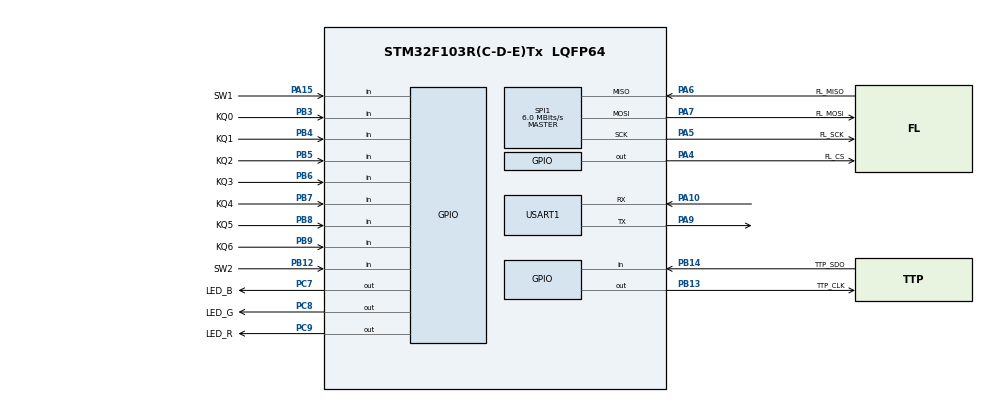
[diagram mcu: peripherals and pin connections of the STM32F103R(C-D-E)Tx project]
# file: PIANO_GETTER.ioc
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Mcu.Family=STM32F1
Mcu.Name=STM32F103R(C-D-E)Tx
Mcu.Package=LQFP64
NVIC.PriorityGroup=NVIC_PRIORITYGROUP_4
NVIC.TIM2_IRQn=true\:0\:0\:false\:false\:true\:true\:true\:true
PA10.Mode=Asynchronous
PA10.Signal=USART1_RX
PA13.Mode=Serial_Wire
PA13.Signal=SYS_JTMS-SWDIO
PA14.Mode=Serial_Wire
PA14.Signal=SYS_JTCK-SWCLK
PA15.GPIO_Label=SW1
PA15.Signal=GPIO_Input
PA4.GPIO_Label=FL_CS
PA4.Signal=GPIO_Output
PA5.GPIO_Label=FL_SCK
PA5.Mode=Full_Duplex_Master
PA5.Signal=SPI1_SCK
PA6.GPIO_Label=FL_MISO
PA6.Mode=Full_Duplex_Master
PA6.Signal=SPI1_MISO
PA7.GPIO_Label=FL_MOSI
PA7.Mode=Full_Duplex_Master
PA7.Signal=SPI1_MOSI
PA9.Mode=Asynchronous
PA9.Signal=USART1_TX
PB12.GPIO_Label=SW2
PB12.Signal=GPIO_Input
PB13.GPIO_Label=TTP_CLK
PB13.Signal=GPIO_Output
PB14.GPIO_Label=TTP_SDO
PB14.Signal=GPIO_Input
PB3.GPIO_Label=KQ0
PB3.GPIO_PuPd=GPIO_PULLUP
PB3.Signal=GPIO_Input
PB4.GPIO_Label=KQ1
PB4.GPIO_PuPd=GPIO_PULLUP
PB4.Signal=GPIO_Input
PB5.GPIO_Label=KQ2
PB5.GPIO_PuPd=GPIO_PULLUP
PB5.Signal=GPIO_Input
PB6.GPIO_Label=KQ3
PB6.GPIO_PuPd=GPIO_PULLUP
PB6.Signal=GPIO_Input
PB7.GPIO_Label=KQ4
PB7.GPIO_PuPd=GPIO_PULLUP
PB7.Signal=GPIO_Input
PB8.GPIO_Label=KQ5
PB8.GPIO_PuPd=GPIO_PULLUP
PB8.Signal=GPIO_Input
PB9.GPIO_Label=KQ6
PB9.GPIO_PuPd=GPIO_PULLUP
PB9.Signal=GPIO_Input
PC7.GPIO_Label=LED_B
PC7.Signal=GPIO_Output
PC8.GPIO_Label=LED_G
PC8.Signal=GPIO_Output
PC9.GPIO_Label=LED_R
PC9.Signal=GPIO_Output
ProjectManager.HeapSize=0x200
ProjectManager.StackSize=0x400
ProjectManager.TargetToolchain=STM32CubeIDE
RCC.AHBFreq_Value=24000000
RCC.APB1CLKDivider=RCC_HCLK_DIV2
RCC.APB1Freq_Value=12000000
RCC.APB1TimFreq_Value=24000000
RCC.APB2Freq_Value=24000000
RCC.APB2TimFreq_Value=24000000
RCC.HCLKFreq_Value=24000000
RCC.PLLMUL=RCC_PLL_MUL6
RCC.SYSCLKFreq_VALUE=24000000
RCC.SYSCLKSource=RCC_SYSCLKSOURCE_PLLCLK
RCC.USBFreq_Value=24000000
SPI1.BaudRatePrescaler=SPI_BAUDRATEPRESCALER_4
SPI1.CalculateBaudRate=6.0 MBits/s
SPI1.Direction=SPI_DIRECTION_2LINES
SPI1.Mode=SPI_MODE_MASTER
SPI1.VirtualType=VM_MASTER
TIM2.AutoReloadPreload=TIM_AUTORELOAD_PRELOAD_ENABLE
TIM2.Period=999
TIM2.Prescaler=239
TIM4.Prescaler=23
USART1.VirtualMode=VM_ASYNC
VP_TIM2_VS_ClockSourceINT.Mode=Internal
VP_TIM4_VS_ClockSourceINT.Mode=Internal
board=custom

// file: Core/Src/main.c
/* USER CODE BEGIN Header */
/**
  ******************************************************************************
  * @file           : main.c
  * @brief          : Main program body
  ******************************************************************************
  * @attention
  *
  * Copyright (c) 2025 STMicroelectronics.
  * All rights reserved.
  *
  * This software is licensed under terms that can be found in the LICENSE file
  * in the root directory of this software component.
  * If no LICENSE file comes with this software, it is provided AS-IS.
  *
  ******************************************************************************
  */
/* USER CODE END Header */
#include "main.h"

/* USER CODE BEGIN Includes */
#include <stdio.h>
#include <string.h>
#include <stdbool.h>
#include "gd25q16e.h"
#include "ttp229.h"
#include "uart.h"
#include "song.h"

/* USER CODE END Includes */

void SystemClock_Config(void);
static void MX_GPIO_Init(void);
static void MX_SPI1_Init(void);
static void MX_USART1_UART_Init(void);
static void MX_TIM4_Init(void);
static void MX_TIM2_Init(void);

/* USER CODE BEGIN 0 */
typedef enum {
    STATE_IDLE,
    STATE_WAIT_SW2_RELEASE,
    STATE_RECORD,
    STATE_UART_WAIT_SEND,
    STATE_UART_SENDING,
    STATE_WAIT_ERASE
} State_t;

struct GD25Q16E_Dev flash = {
	.spi = SPI1,
	.cs_port = FL_CS_GPIO_Port,
	.cs_pin = FL_CS_Pin
};

#define FLASH_END_ADDR				0x0FBFFF
#define UART_CHUNK_SIZE				128
#define LED_TOGGLE_TICKS			20
#define DEBOUNCE_TICKS				5

static State_t current_state = STATE_IDLE;
static uint32_t sample_count = 0;
static uint32_t sw1_hold_time = 0;
static uint32_t sw2_hold_time = 0;
static uint32_t sw1_debounce = 0;
static uint32_t sw2_debounce = 0;
static bool sw1_state = false;
static bool sw2_state = false;
static uint32_t uart_wait_delay = 0;
static uint32_t erase_wait_delay = 0;
volatile uint32_t timer_count = 0;
static uint32_t flash_addr = 0;
static uint32_t led_toggle_count = 0;

void UART_Transmit_Flash(uint32_t start_addr, uint32_t len) {
    uint8_t buffer[UART_CHUNK_SIZE];
    uint32_t remaining = len - (flash_addr - start_addr);
    uint32_t chunk = (remaining > UART_CHUNK_SIZE) ? UART_CHUNK_SIZE : remaining;

    if (chunk > 0) {
        GD25Q16E_Read(&flash, flash_addr, buffer, chunk);
        for (uint32_t i = 0; i < chunk; i++) {
            while (!LL_USART_IsActiveFlag_TXE(USART1));
            LL_USART_TransmitData8(USART1, buffer[i]);
        }
        flash_addr += chunk;
    }
}

void EraseAllFlash(void) {
    for (uint32_t addr = 0x000000; addr <= FLASH_END_ADDR; addr += 4096) {
        GD25Q16E_EraseSector(&flash, addr);
        // Chớp LED đỏ
        LL_GPIO_TogglePin(LED_R_GPIO_Port, LED_R_Pin);
        LL_mDelay(20);
    }
}

void Timer2_10ms_handle(void) {
    if (LL_TIM_IsActiveFlag_UPDATE(TIM2)) {
        LL_TIM_ClearFlag_UPDATE(TIM2);
        timer_count++;
        led_toggle_count++;

        // Debouncing SW1
        bool sw1_current = !LL_GPIO_IsInputPinSet(SW1_GPIO_Port, SW1_Pin);
        if (sw1_current == sw1_state) {
            sw1_debounce = 0;
        } else {
            sw1_debounce++;
            if (sw1_debounce >= DEBOUNCE_TICKS) {
                sw1_state = sw1_current;
                sw1_debounce = 0;
                if (!sw1_state) {
                    sw1_hold_time = 0;
                }
            }
        }
        if (sw1_state) {
            sw1_hold_time++;
        }

        // Debouncing SW2
        bool sw2_current = !LL_GPIO_IsInputPinSet(SW2_GPIO_Port, SW2_Pin);
        if (sw2_current == sw2_state) {
            sw2_debounce = 0;
        } else {
            sw2_debounce++;
            if (sw2_debounce >= DEBOUNCE_TICKS) {
                sw2_state = sw2_current;
                sw2_debounce = 0;
                if (!sw2_state) {
                    sw2_hold_time = 0;
                }
            }
        }
        if (sw2_state) {
            sw2_hold_time++;
        }

        // Nhấp nháy LED trong UART_SENDING và WAIT_ERASE
        if ((current_state == STATE_UART_SENDING || current_state == STATE_WAIT_ERASE) && led_toggle_count >= LED_TOGGLE_TICKS) {
            if (current_state == STATE_UART_SENDING) {
                LL_GPIO_TogglePin(LED_B_GPIO_Port, LED_B_Pin);
            } else {
                LL_GPIO_TogglePin(LED_R_GPIO_Port, LED_R_Pin);
                LL_GPIO_TogglePin(LED_G_GPIO_Port, LED_G_Pin);
                LL_GPIO_TogglePin(LED_B_GPIO_Port, LED_B_Pin);
            }
            led_toggle_count = 0;
        }

        // Xử lý trạng thái
        switch (current_state) {
            case STATE_IDLE:
                LL_GPIO_SetOutputPin(LED_R_GPIO_Port, LED_R_Pin);
                LL_GPIO_ResetOutputPin(LED_G_GPIO_Port, LED_G_Pin);
                LL_GPIO_ResetOutputPin(LED_B_GPIO_Port, LED_B_Pin);
                if (sw2_hold_time == 1) {
                    current_state = STATE_WAIT_SW2_RELEASE;
                    sw2_debounce = 0;
                    sw2_state = true;
                } else if (sw1_hold_time >= 500) { // 5 giây
                    current_state = STATE_WAIT_ERASE;
                	LL_GPIO_ResetOutputPin(LED_R_GPIO_Port, LED_R_Pin);
                    sw1_hold_time = 0;
                    erase_wait_delay = 0;
                }
                break;

            case STATE_WAIT_SW2_RELEASE:
                if (sw2_hold_time >= 300) {
                    current_state = STATE_UART_WAIT_SEND;
                    sw2_hold_time = 0;
                    uart_wait_delay = 0;
                } else if (sw2_hold_time == 0) {
                    current_state = STATE_RECORD;
                    sample_count = 0;
                }
                break;

            case STATE_RECORD:
                LL_GPIO_ResetOutputPin(LED_R_GPIO_Port, LED_R_Pin);
                LL_GPIO_SetOutputPin(LED_G_GPIO_Port, LED_G_Pin);
                LL_GPIO_ResetOutputPin(LED_B_GPIO_Port, LED_B_Pin);
                if (sw1_hold_time == 1 || sample_count >= SONG_DATA_SIZE) {
                    char name[16];
                    memset(song_name, 0xFF, SONG_NAME_SIZE);
                    snprintf(name, sizeof(name), "Bai so %d", song_index + 1);
                    memcpy(song_name, name, strlen(name) + 1);
                    song_write(&flash, song_index);
                    song_index = (song_index + 1) % SONG_COUNT;
                    song_save_index(&flash, song_index);
                    current_state = STATE_IDLE;
                } else {
                    if (sample_count < SONG_DATA_SIZE) {
                        song_data[sample_count] = TTP229_Read_8Keys();
                        sample_count++;
                    }
                }
                break;

            case STATE_UART_WAIT_SEND:
                LL_GPIO_ResetOutputPin(LED_R_GPIO_Port, LED_R_Pin);
                LL_GPIO_ResetOutputPin(LED_G_GPIO_Port, LED_G_Pin);
                LL_GPIO_SetOutputPin(LED_B_GPIO_Port, LED_B_Pin);
                uart_wait_delay++;
                if (uart_wait_delay >= 50 && sw2_hold_time == 1) {
                    current_state = STATE_UART_SENDING;
                    flash_addr = 0x000000;
                    led_toggle_count = 0;
                } else if (uart_wait_delay >= 50 && sw1_hold_time == 1) {
                	current_state = STATE_IDLE;
                }
                break;

            case STATE_UART_SENDING:
                UART_Transmit_Flash(0x000000, FLASH_END_ADDR + 1);
                if (flash_addr > FLASH_END_ADDR) {
                    current_state = STATE_IDLE;
                }
                break;

            case STATE_WAIT_ERASE:
                erase_wait_delay++;
                if (erase_wait_delay >= 50 && sw2_state && sw2_hold_time == 1) {
                	LL_GPIO_ResetOutputPin(LED_G_GPIO_Port, LED_G_Pin);
                	LL_GPIO_ResetOutputPin(LED_B_GPIO_Port, LED_B_Pin);
                    EraseAllFlash();
                    song_index = 0;
                    current_state = STATE_IDLE;
                } else if (erase_wait_delay >= 50 && sw1_state && sw1_hold_time == 1) {
                    current_state = STATE_IDLE;
                }
                break;
        }
    }
}

/* USER CODE END 0 */

int main(void)
{

  /* MCU Configuration--------------------------------------------------------*/

  /* Reset of all peripherals, Initializes the Flash interface and the Systick. */
  LL_APB2_GRP1_EnableClock(LL_APB2_GRP1_PERIPH_AFIO);
  LL_APB1_GRP1_EnableClock(LL_APB1_GRP1_PERIPH_PWR);

  /* System interrupt init*/
  NVIC_SetPriorityGrouping(NVIC_PRIORITYGROUP_4);

  /* SysTick_IRQn interrupt configuration */
  NVIC_SetPriority(SysTick_IRQn, NVIC_EncodePriority(NVIC_GetPriorityGrouping(),15, 0));

  /** NOJTAG: JTAG-DP Disabled and SW-DP Enabled
  */
  LL_GPIO_AF_Remap_SWJ_NOJTAG();

  /* Configure the system clock */
  SystemClock_Config();

  /* Initialize all configured peripherals */
  MX_GPIO_Init();
  MX_SPI1_Init();
  MX_USART1_UART_Init();
  MX_TIM4_Init();
  MX_TIM2_Init();
  /* USER CODE BEGIN 2 */
  // Đọc song_index từ flash
  GD25Q16E_Init(&flash);
  song_index = song_read_index(&flash);

  /* USER CODE END 2 */

  /* Infinite loop */
  /* USER CODE BEGIN WHILE */
//  uint8_t key_state = 0;
//  char buffer[100];
  while (1)
  {

//	  key_state = TTP229_Read_8Keys();
//	  LL_mDelay(10);
//
//	  if (key_state != 0) {
//		  snprintf(buffer, sizeof(buffer), "0x%02x  ", key_state);
//		  UART1_LL_SendString(buffer);
//	  }
//
//	  LL_GPIO_TogglePin(LED_R_GPIO_Port, LED_R_Pin);
//	  LL_GPIO_TogglePin(LED_G_GPIO_Port, LED_G_Pin);
//	  LL_GPIO_TogglePin(LED_B_GPIO_Port, LED_B_Pin);
//
//	  if (!LL_GPIO_IsInputPinSet(SW1_GPIO_Port, SW1_Pin)) {
//		  uint32_t Flash_ID = GD25Q16E_ReadID(&flash);
//
//		  snprintf(buffer, sizeof(buffer), "Flash ID: 0x%06X \r\n", (unsigned int)Flash_ID);
//		  UART1_LL_SendString(buffer);
//	  }
//	  if (!LL_GPIO_IsInputPinSet(SW2_GPIO_Port, SW2_Pin)) {
//		  /* Write data to flash */
//		  uint8_t write_data[] = "Hello, Sang!";
//		  uint32_t write_addr = 0x000000; // Start at address 0
//		  snprintf(buffer, sizeof(buffer), "Writing data to address 0x%06X: %s\r\n", (unsigned int)write_addr, write_data);
//		  UART1_LL_SendString(buffer);
//		  GD25Q16E_Write(&flash, write_addr, write_data, strlen((char*)write_data) + 1);
//
//		  //song_erase(0);
//
//		  /* Read data back */
//		  uint8_t read_data[32] = {0};
//		  snprintf(buffer, sizeof(buffer), "Reading data from address 0x%06X...\r\n", (unsigned int)write_addr);
//		  UART1_LL_SendString(buffer);
//		  GD25Q16E_Read(&flash, write_addr, read_data, strlen((char*)write_data) + 1);
//		  snprintf(buffer, sizeof(buffer), "Data read: %s\r\n", read_data);
//		  UART1_LL_SendString(buffer);
//
//	  }

    /* USER CODE END WHILE */

  }
}

void SystemClock_Config(void)
{
  LL_FLASH_SetLatency(LL_FLASH_LATENCY_0);
  while(LL_FLASH_GetLatency()!= LL_FLASH_LATENCY_0)
  {
  }
  LL_RCC_HSI_SetCalibTrimming(16);
  LL_RCC_HSI_Enable();

   /* Wait till HSI is ready */
  while(LL_RCC_HSI_IsReady() != 1)
  {

  }
  LL_RCC_PLL_ConfigDomain_SYS(LL_RCC_PLLSOURCE_HSI_DIV_2, LL_RCC_PLL_MUL_6);
  LL_RCC_PLL_Enable();

   /* Wait till PLL is ready */
  while(LL_RCC_PLL_IsReady() != 1)
  {

  }
  LL_RCC_SetAHBPrescaler(LL_RCC_SYSCLK_DIV_1);
  LL_RCC_SetAPB1Prescaler(LL_RCC_APB1_DIV_2);
  LL_RCC_SetAPB2Prescaler(LL_RCC_APB2_DIV_1);
  LL_RCC_SetSysClkSource(LL_RCC_SYS_CLKSOURCE_PLL);

   /* Wait till System clock is ready */
  while(LL_RCC_GetSysClkSource() != LL_RCC_SYS_CLKSOURCE_STATUS_PLL)
  {

  }
  LL_Init1msTick(24000000);
  LL_SetSystemCoreClock(24000000);
}

static void MX_SPI1_Init(void)
{

  LL_SPI_InitTypeDef SPI_InitStruct = {0};

  LL_GPIO_InitTypeDef GPIO_InitStruct = {0};

  /* Peripheral clock enable */
  LL_APB2_GRP1_EnableClock(LL_APB2_GRP1_PERIPH_SPI1);

  LL_APB2_GRP1_EnableClock(LL_APB2_GRP1_PERIPH_GPIOA);
  /**SPI1 GPIO Configuration
  PA5   ------> SPI1_SCK
  PA6   ------> SPI1_MISO
  PA7   ------> SPI1_MOSI
  */
  GPIO_InitStruct.Pin = FL_SCK_Pin|FL_MOSI_Pin;
  GPIO_InitStruct.Mode = LL_GPIO_MODE_ALTERNATE;
  GPIO_InitStruct.Speed = LL_GPIO_SPEED_FREQ_HIGH;
  GPIO_InitStruct.OutputType = LL_GPIO_OUTPUT_PUSHPULL;
  LL_GPIO_Init(GPIOA, &GPIO_InitStruct);

  GPIO_InitStruct.Pin = FL_MISO_Pin;
  GPIO_InitStruct.Mode = LL_GPIO_MODE_FLOATING;
  LL_GPIO_Init(FL_MISO_GPIO_Port, &GPIO_InitStruct);

  /* SPI1 parameter configuration*/
  SPI_InitStruct.TransferDirection = LL_SPI_FULL_DUPLEX;
  SPI_InitStruct.Mode = LL_SPI_MODE_MASTER;
  SPI_InitStruct.DataWidth = LL_SPI_DATAWIDTH_8BIT;
  SPI_InitStruct.ClockPolarity = LL_SPI_POLARITY_LOW;
  SPI_InitStruct.ClockPhase = LL_SPI_PHASE_1EDGE;
  SPI_InitStruct.NSS = LL_SPI_NSS_SOFT;
  SPI_InitStruct.BaudRate = LL_SPI_BAUDRATEPRESCALER_DIV4;
  SPI_InitStruct.BitOrder = LL_SPI_MSB_FIRST;
  SPI_InitStruct.CRCCalculation = LL_SPI_CRCCALCULATION_DISABLE;
  SPI_InitStruct.CRCPoly = 10;
  LL_SPI_Init(SPI1, &SPI_InitStruct);
  /* USER CODE BEGIN SPI1_Init 2 */
  LL_SPI_Enable(SPI1);
  /* USER CODE END SPI1_Init 2 */

}

static void MX_TIM2_Init(void)
{

  LL_TIM_InitTypeDef TIM_InitStruct = {0};

  /* Peripheral clock enable */
  LL_APB1_GRP1_EnableClock(LL_APB1_GRP1_PERIPH_TIM2);

  /* TIM2 interrupt Init */
  NVIC_SetPriority(TIM2_IRQn, NVIC_EncodePriority(NVIC_GetPriorityGrouping(),0, 0));
  NVIC_EnableIRQ(TIM2_IRQn);

  TIM_InitStruct.Prescaler = 239;
  TIM_InitStruct.CounterMode = LL_TIM_COUNTERMODE_UP;
  TIM_InitStruct.Autoreload = 999;
  TIM_InitStruct.ClockDivision = LL_TIM_CLOCKDIVISION_DIV1;
  LL_TIM_Init(TIM2, &TIM_InitStruct);
  LL_TIM_EnableARRPreload(TIM2);
  LL_TIM_SetClockSource(TIM2, LL_TIM_CLOCKSOURCE_INTERNAL);
  LL_TIM_SetTriggerOutput(TIM2, LL_TIM_TRGO_RESET);
  LL_TIM_DisableMasterSlaveMode(TIM2);
  /* USER CODE BEGIN TIM2_Init 2 */

  LL_TIM_EnableIT_UPDATE(TIM2); // Bật ngắt Update
  LL_TIM_EnableCounter(TIM2);   // Khởi động timer

  /* USER CODE END TIM2_Init 2 */

}

static void MX_TIM4_Init(void)
{

  LL_TIM_InitTypeDef TIM_InitStruct = {0};

  /* Peripheral clock enable */
  LL_APB1_GRP1_EnableClock(LL_APB1_GRP1_PERIPH_TIM4);

  TIM_InitStruct.Prescaler = 23;
  TIM_InitStruct.CounterMode = LL_TIM_COUNTERMODE_UP;
  TIM_InitStruct.Autoreload = 65535;
  TIM_InitStruct.ClockDivision = LL_TIM_CLOCKDIVISION_DIV1;
  LL_TIM_Init(TIM4, &TIM_InitStruct);
  LL_TIM_DisableARRPreload(TIM4);
  LL_TIM_SetClockSource(TIM4, LL_TIM_CLOCKSOURCE_INTERNAL);
  LL_TIM_SetTriggerOutput(TIM4, LL_TIM_TRGO_RESET);
  LL_TIM_DisableMasterSlaveMode(TIM4);

}

static void MX_USART1_UART_Init(void)
{

  LL_USART_InitTypeDef USART_InitStruct = {0};

  LL_GPIO_InitTypeDef GPIO_InitStruct = {0};

  /* Peripheral clock enable */
  LL_APB2_GRP1_EnableClock(LL_APB2_GRP1_PERIPH_USART1);

  LL_APB2_GRP1_EnableClock(LL_APB2_GRP1_PERIPH_GPIOA);
  /**USART1 GPIO Configuration
  PA9   ------> USART1_TX
  PA10   ------> USART1_RX
  */
  GPIO_InitStruct.Pin = LL_GPIO_PIN_9;
  GPIO_InitStruct.Mode = LL_GPIO_MODE_ALTERNATE;
  GPIO_InitStruct.Speed = LL_GPIO_SPEED_FREQ_HIGH;
  GPIO_InitStruct.OutputType = LL_GPIO_OUTPUT_PUSHPULL;
  LL_GPIO_Init(GPIOA, &GPIO_InitStruct);

  GPIO_InitStruct.Pin = LL_GPIO_PIN_10;
  GPIO_InitStruct.Mode = LL_GPIO_MODE_FLOATING;
  LL_GPIO_Init(GPIOA, &GPIO_InitStruct);

  USART_InitStruct.BaudRate = 115200;
  USART_InitStruct.DataWidth = LL_USART_DATAWIDTH_8B;
  USART_InitStruct.StopBits = LL_USART_STOPBITS_1;
  USART_InitStruct.Parity = LL_USART_PARITY_NONE;
  USART_InitStruct.TransferDirection = LL_USART_DIRECTION_TX_RX;
  USART_InitStruct.HardwareFlowControl = LL_USART_HWCONTROL_NONE;
  USART_InitStruct.OverSampling = LL_USART_OVERSAMPLING_16;
  LL_USART_Init(USART1, &USART_InitStruct);
  LL_USART_ConfigAsyncMode(USART1);
  LL_USART_Enable(USART1);

}

static void MX_GPIO_Init(void)
{
  LL_GPIO_InitTypeDef GPIO_InitStruct = {0};

  /* GPIO Ports Clock Enable */
  LL_APB2_GRP1_EnableClock(LL_APB2_GRP1_PERIPH_GPIOA);
  LL_APB2_GRP1_EnableClock(LL_APB2_GRP1_PERIPH_GPIOB);
  LL_APB2_GRP1_EnableClock(LL_APB2_GRP1_PERIPH_GPIOC);

  /**/
  LL_GPIO_ResetOutputPin(FL_CS_GPIO_Port, FL_CS_Pin);

  /**/
  LL_GPIO_ResetOutputPin(TTP_CLK_GPIO_Port, TTP_CLK_Pin);

  /**/
  LL_GPIO_ResetOutputPin(GPIOC, LED_B_Pin|LED_G_Pin|LED_R_Pin);

  /**/
  GPIO_InitStruct.Pin = FL_CS_Pin;
  GPIO_InitStruct.Mode = LL_GPIO_MODE_OUTPUT;
  GPIO_InitStruct.Speed = LL_GPIO_SPEED_FREQ_LOW;
  GPIO_InitStruct.OutputType = LL_GPIO_OUTPUT_PUSHPULL;
  LL_GPIO_Init(FL_CS_GPIO_Port, &GPIO_InitStruct);

  /**/
  GPIO_InitStruct.Pin = SW2_Pin|TTP_SDO_Pin;
  GPIO_InitStruct.Mode = LL_GPIO_MODE_FLOATING;
  LL_GPIO_Init(GPIOB, &GPIO_InitStruct);

  /**/
  GPIO_InitStruct.Pin = TTP_CLK_Pin;
  GPIO_InitStruct.Mode = LL_GPIO_MODE_OUTPUT;
  GPIO_InitStruct.Speed = LL_GPIO_SPEED_FREQ_LOW;
  GPIO_InitStruct.OutputType = LL_GPIO_OUTPUT_PUSHPULL;
  LL_GPIO_Init(TTP_CLK_GPIO_Port, &GPIO_InitStruct);

  /**/
  GPIO_InitStruct.Pin = LED_B_Pin|LED_G_Pin|LED_R_Pin;
  GPIO_InitStruct.Mode = LL_GPIO_MODE_OUTPUT;
  GPIO_InitStruct.Speed = LL_GPIO_SPEED_FREQ_LOW;
  GPIO_InitStruct.OutputType = LL_GPIO_OUTPUT_PUSHPULL;
  LL_GPIO_Init(GPIOC, &GPIO_InitStruct);

  /**/
  GPIO_InitStruct.Pin = SW1_Pin;
  GPIO_InitStruct.Mode = LL_GPIO_MODE_FLOATING;
  LL_GPIO_Init(SW1_GPIO_Port, &GPIO_InitStruct);

  /**/
  GPIO_InitStruct.Pin = KQ0_Pin|KQ1_Pin|KQ2_Pin|KQ3_Pin
                          |KQ4_Pin|KQ5_Pin|KQ6_Pin;
  GPIO_InitStruct.Mode = LL_GPIO_MODE_INPUT;
  GPIO_InitStruct.Pull = LL_GPIO_PULL_UP;
  LL_GPIO_Init(GPIOB, &GPIO_InitStruct);

}

void Error_Handler(void)
{
  __disable_irq();
  while (1)
  {
  }
}
